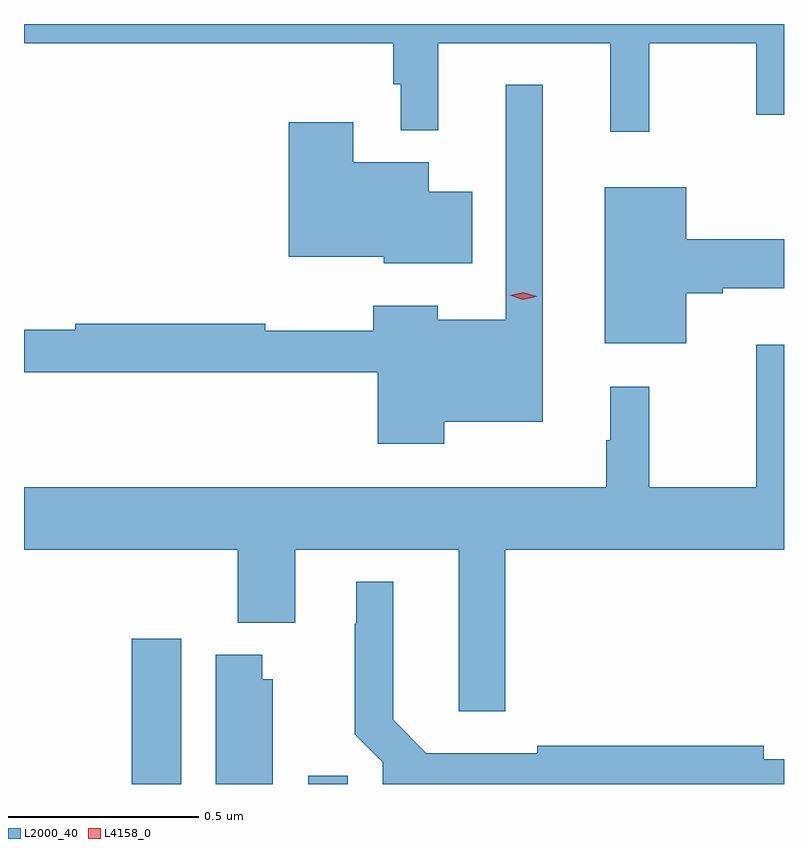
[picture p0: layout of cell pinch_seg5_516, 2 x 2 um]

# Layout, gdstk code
import gdstk
lib = gdstk.Library(unit=1e-6, precision=1e-09)
def R(c, l, rs):  # rectangles x0, y0, x1, y1
    for r in rs: c.add(gdstk.rectangle(r[:2], r[2:], *l))
def P(c, l, *ps):  # polygons
    for p in ps: c.add(gdstk.Polygon(p, *l))
L2000_40 = (2000, 40)
L4158_0 = (4158, 0)

pinch_seg5_516 = lib.new_cell('pinch_seg5_516')
R(pinch_seg5_516, L2000_40, [(930.596,852.147,930.727,852.529), (931.061,852.147,931.165,852.169)])
P(pinch_seg5_516, L2000_40, [(931.958,854.096),(932.24,854.096),(932.24,853.908),(932.313,853.908),(932.313,854.147),(930.313,854.147),(930.313,854.096),(931.285,854.096),(931.285,853.989),(931.305,853.989),(931.305,853.868),(931.403,853.868),(931.403,854.096),(931.856,854.096),(931.856,853.863),(931.958,853.863)],
  [(931.419,853.1),(931.678,853.1),(931.678,853.987),(931.581,853.987),(931.581,853.369),(931.402,853.369),(931.402,853.405),(931.232,853.405),(931.232,853.34),(930.948,853.34),(930.948,853.358),(930.448,853.358),(930.448,853.343),(930.313,853.343),(930.313,853.23),(931.244,853.23),(931.244,853.043),(931.419,853.043)],
  [(931.492,853.705),(931.378,853.705),(931.378,853.783),(931.18,853.783),(931.18,853.888),(931.01,853.888),(931.01,853.535),(931.26,853.535),(931.26,853.517),(931.492,853.517)],
  [(932.056,853.439),(932.152,853.439),(932.152,853.451),(932.313,853.451),(932.313,853.581),(932.056,853.581),(932.056,853.717),(931.841,853.717),(931.841,853.307),(932.056,853.307)],
  [(931.58,852.764),(932.313,852.764),(932.313,853.303),(932.24,853.303),(932.24,852.928),(931.958,852.928),(931.958,853.192),(931.856,853.192),(931.856,853.052),(931.845,853.052),(931.845,852.928),(930.313,852.928),(930.313,852.764),(930.875,852.764),(930.875,852.572),(931.027,852.572),(931.027,852.764),(931.457,852.764),(931.457,852.339),(931.58,852.339)],
  [(932.313,852.212),(932.26,852.212),(932.26,852.248),(931.663,852.248),(931.663,852.228),(931.372,852.228),(931.285,852.316),(931.285,852.679),(931.187,852.679),(931.187,852.569),(931.183,852.569),(931.183,852.278),(931.257,852.204),(931.257,852.147),(932.313,852.147)],
  [(930.967,852.423),(930.94,852.423),(930.94,852.487),(930.818,852.487),(930.818,852.147),(930.967,852.147)])
P(pinch_seg5_516, L4158_0, [(931.626,853.421),(931.591,853.433),(931.591,853.433),(931.591,853.433),(931.627,853.441),(931.662,853.43),(931.662,853.429),(931.662,853.429)])

lib.write_gds('pinch_seg5_516.gds')
